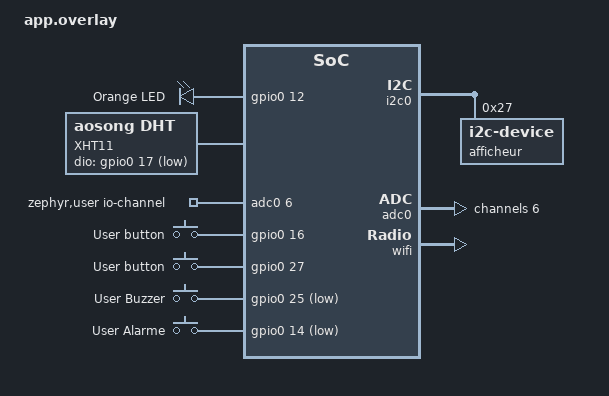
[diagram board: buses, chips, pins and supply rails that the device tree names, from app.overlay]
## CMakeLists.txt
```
cmake_minimum_required(VERSION 3.20.0)

find_package(Zephyr REQUIRED HINTS
$ENV{ZEPHYR_BASE})
project(tp2)

target_sources(app PRIVATE
    src/main.c
    src/lcd_screen_i2c.c
)
```

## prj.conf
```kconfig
# Sensor
CONFIG_I2C=y
CONFIG_SENSOR=y
CONFIG_ADC=y
CONFIG_GPIO=y

CONFIG_CBPRINTF_FP_SUPPORT=y

#WIFI

CONFIG_WIFI=y
CONFIG_INIT_STACKS=y

# Enable Wifi Management Interface
CONFIG_NET_L2_WIFI_MGMT=y

# Wifi requires large heap size
CONFIG_HEAP_MEM_POOL_SIZE=98304

# Add support for ethernet layer (used in wifi)
CONFIG_NET_L2_ETHERNET=y
CONFIG_ESP32_WIFI_STA_AUTO_DHCPV4=y
CONFIG_NETWORKING=y
CONFIG_NET_IPV4=y
CONFIG_NET_IPV6=n
CONFIG_NET_UDP=y
CONFIG_NET_TCP=y
CONFIG_DNS_RESOLVER=y
CONFIG_DNS_RESOLVER_AI_MAX_ENTRIES=10
CONFIG_NET_SOCKETS_POSIX_NAMES=y
CONFIG_NET_SOCKETS=y
CONFIG_HTTP_CLIENT=y

# Use DHCP for IPv4
CONFIG_NET_DHCPV4=y
CONFIG_NET_CONFIG_SETTINGS=y
CONFIG_NET_TX_STACK_SIZE=2048
CONFIG_NET_RX_STACK_SIZE=2048
CONFIG_NET_PKT_TX_COUNT=10
CONFIG_NET_PKT_RX_COUNT=10
CONFIG_NET_BUF_RX_COUNT=20
CONFIG_NET_BUF_TX_COUNT=20
CONFIG_NET_MAX_CONTEXTS=10
```

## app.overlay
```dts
/ {
    leds {
        compatible = "gpio-leds";
        ledyellow: led_yellow {
            gpios = <&gpio0 12 GPIO_ACTIVE_HIGH>;
            label = "Orange LED";
        };
    };

    aliases {
        led-yellow = &ledyellow;
        afficheur-print = &afficheur;
        sw16 = &button16;
        sw27 = &button27;
        buzz = &buzzer;
        alar = &alarme;
    };

    dht11: dht11 {
        compatible = "aosong,dht";
        status = "okay";
        dio-gpios = <&gpio0 17 GPIO_ACTIVE_LOW>;
        label = "XHT11";
    };

    zephyr,user {
        io-channels = <&adc0 6>;
    };

    buttons {
        compatible = "gpio-keys";
        button16: button_16 {
            gpios = <&gpio0 16 GPIO_ACTIVE_HIGH>;
            label = "User button";
        };

        button27: button_27 {
            gpios = <&gpio0 27 GPIO_ACTIVE_HIGH>;
            label = "User button";
        };

    };

    buzzer {
        compatible = "gpio-keys";
        buzzer: buzzer_25 {
            gpios = <&gpio0 25 GPIO_ACTIVE_LOW>;
            label = "User Buzzer";
        };

    };

    alarme {
        compatible = "gpio-keys";
        alarme: alarme_14 {
            gpios = <&gpio0 14 GPIO_ACTIVE_LOW>;
            label = "User Alarme";
        };
    };
};

&i2c0 {
    afficheur: afficheur_lcd@27 {
        compatible = "i2c-device";
        reg = <0x27>;
    };

};

&adc0 {
    status = "okay";
    #address-cells = <1>;
    #size-cells = <0>;

    channel@6 {
        reg = <6>;
        zephyr,gain = "ADC_GAIN_1_4";
        zephyr,reference = "ADC_REF_INTERNAL";
        zephyr,acquisition-time = <ADC_ACQ_TIME_DEFAULT>;
        zephyr,resolution = <12>;
    };
};

&wifi {
    status = "okay";
};
```

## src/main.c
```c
#include <zephyr/kernel.h>
#include <zephyr/drivers/gpio.h>
#include <stdio.h>
#include <zephyr/drivers/i2c.h>
#include <zephyr/drivers/sensor.h>
#include <zephyr/drivers/adc.h>

#include <zephyr/net/net_if.h>
#include <zephyr/net/wifi_mgmt.h>
#include <zephyr/net/net_event.h>
#include <zephyr/net/http/client.h>
#include <errno.h>
#include <zephyr/net/socket.h>

#include "../inc/lcd_screen_i2c.h"

#define SSID "iPhone de Baptiste"
#define PSK "na9tys26n"

#define HTTP_PORT "5000"
#define HTTP_HOST "172.20.10.2"

#define LED_YELLOW_NODE DT_ALIAS(led_yellow)
#define AFFICHEUR_NODE DT_ALIAS(afficheur_print)
#define DT_SPEC_AND_COMMA(node_id, prop, idx) \
    ADC_DT_SPEC_GET_BY_IDX(node_id, idx),

#define BUZZER_PIN DT_ALIAS(buzz)
#define BUZZER_TOGGLE_PERIOD K_MSEC(1)
#define ALARM_NODE DT_ALIAS(alar)

static bool ALARME = false;
static bool PAS_ALARME = false;

static K_SEM_DEFINE(wifi_connected, 0, 1);
static K_SEM_DEFINE(ipv4_address_obtained, 0, 1);

static struct net_mgmt_event_callback wifi_cb;
static struct net_mgmt_event_callback ipv4_cb;

const struct gpio_dt_spec led_yellow_gpio = GPIO_DT_SPEC_GET_OR(LED_YELLOW_NODE, gpios, {0});
const struct i2c_dt_spec afficheur = I2C_DT_SPEC_GET(AFFICHEUR_NODE);
const struct device *const dht11 = DEVICE_DT_GET_ONE(aosong_dht);
const struct gpio_dt_spec buzzer_gpio = GPIO_DT_SPEC_GET_OR(BUZZER_PIN, gpios, {0});
const struct gpio_dt_spec presence_sensor_gpio = GPIO_DT_SPEC_GET_OR(ALARM_NODE, gpios, {0});

static const struct adc_dt_spec adc_channels[] = {
    DT_FOREACH_PROP_ELEM(DT_PATH(zephyr_user), io_channels, DT_SPEC_AND_COMMA)};

static struct gpio_callback button_callback_data;
static struct gpio_callback button_callback_data2;

void button_pressed()
{
    printf("bouton 16 pressé !\n");
    ALARME = true;
}

void button_pressed2()
{
    printf("bouton 27 pressé !\n");
    PAS_ALARME = true;
}

static void handle_wifi_connect_result(struct net_mgmt_event_callback *cb)
{
    const struct wifi_status *status = (const struct wifi_status *)cb->info;
    if (status->status)
    {
        printk("Connection request failed (%d)\n", status->status);
    }
    else
    {
        printk("Connected\n");
        k_sem_give(&wifi_connected);
    }
}

static void handle_wifi_disconnect_result(struct net_mgmt_event_callback *cb)
{
    const struct wifi_status *status = (const struct wifi_status *)cb->info;
    if (status->status)
    {
        printk("Disconnection request (%d)\n", status->status);
    }
    else
    {
        printk("Disconnected\n");
        k_sem_take(&wifi_connected, K_NO_WAIT);
    }
}

static void handle_ipv4_result(struct net_if *iface)
{
    int i = 0;
    for (i = 0; i < NET_IF_MAX_IPV4_ADDR; i++)
    {
        char buf[NET_IPV4_ADDR_LEN];
        if (iface->config.ip.ipv4->unicast[i].addr_type != NET_ADDR_DHCP)
        {
            continue;
        }
        printk("IPv4 address: %s\n",
               net_addr_ntop(AF_INET,
                             &iface->config.ip.ipv4->unicast[i].address.in_addr,
                             buf, sizeof(buf)));
        printk("Subnet: %s\n", net_addr_ntop(AF_INET,
                                             &iface->config.ip.ipv4->netmask,
                                             buf, sizeof(buf)));
        printk("Router: %s\n",
               net_addr_ntop(AF_INET,
                             &iface->config.ip.ipv4->gw,
                             buf, sizeof(buf)));
    }
    k_sem_give(&ipv4_address_obtained);
}

static void wifi_mgmt_event_handler(struct net_mgmt_event_callback *cb, uint32_t mgmt_event, struct net_if *iface)
{
    switch (mgmt_event)
    {
    case NET_EVENT_WIFI_CONNECT_RESULT:
        handle_wifi_connect_result(cb);
        break;
    case NET_EVENT_WIFI_DISCONNECT_RESULT:
        handle_wifi_disconnect_result(cb);
        break;
    case NET_EVENT_IPV4_ADDR_ADD:
        handle_ipv4_result(iface);
        break;
    default:
        break;
    }
}

void wifi_connect(void)
{
    struct net_if *iface = net_if_get_default();
    struct wifi_connect_req_params wifi_params = {0};
    wifi_params.ssid = SSID;
    wifi_params.psk = PSK;
    wifi_params.ssid_length = strlen(SSID);
    wifi_params.psk_length = strlen(PSK);
    wifi_params.channel = WIFI_CHANNEL_ANY;
    wifi_params.security = WIFI_SECURITY_TYPE_PSK;
    wifi_params.band = WIFI_FREQ_BAND_2_4_GHZ;
    wifi_params.mfp = WIFI_MFP_OPTIONAL;
    printk("Connecting to SSID: %s\n", wifi_params.ssid);
    if (net_mgmt(NET_REQUEST_WIFI_CONNECT, iface, &wifi_params, sizeof(struct wifi_connect_req_params)))
    {
        printk("WiFi Connection Request Failed\n");
    }
}

void wifi_status(void)
{
    struct net_if *iface = net_if_get_default();
    struct wifi_iface_status status = {0};
    if (net_mgmt(NET_REQUEST_WIFI_IFACE_STATUS, iface, &status, sizeof(struct wifi_iface_status)))
    {
        printk("WiFi Status Request Failed\n");
    }
    printk("\n");
    if (status.state >= WIFI_STATE_ASSOCIATED)
    {
        printk("SSID: %-32s\n", status.ssid);
        printk("Channel: %d\n", status.channel);
        printk("RSSI: %d\n", status.rssi);
    }
}

static void response_cb(struct http_response *rsp,
                        enum http_final_call final_data,
                        void *user_data)
{
    if (final_data == HTTP_DATA_MORE)
    {
        printk("Partial data received (%zd bytes)", rsp->data_len);
    }
    else if (final_data == HTTP_DATA_FINAL)
    {
        printk("All the data received (%zd bytes)", rsp->data_len);
    }

    printk("Response status %s", rsp->http_status);

    if (rsp->body_found)
    {
        printk("Response body:\n");
        printk("%s\n", rsp->body_frag_start);
    }
}

int main(void)
{
    // LED ORANGE :
    gpio_pin_configure_dt(&led_yellow_gpio, GPIO_OUTPUT_HIGH);
    k_sleep(K_SECONDS(1));
    gpio_pin_configure_dt(&led_yellow_gpio, GPIO_OUTPUT_LOW);
    k_sleep(K_SECONDS(1));
    gpio_pin_configure_dt(&led_yellow_gpio, GPIO_OUTPUT_HIGH);
    k_sleep(K_SECONDS(1));
    gpio_pin_configure_dt(&led_yellow_gpio, GPIO_OUTPUT_LOW);
    k_sleep(K_SECONDS(1));
    gpio_pin_configure_dt(&led_yellow_gpio, GPIO_OUTPUT_HIGH);
    k_sleep(K_SECONDS(1));

    // CAPTEUR TEMPÉRATURE / STEAM
    struct sensor_value temp, humidity;
    int err;
    uint16_t buf;
    struct adc_sequence sequence = {
        .buffer = &buf,
        /* buffer size in bytes, not number of samples */
        .buffer_size = sizeof(buf),
    };

    err = adc_channel_setup_dt(&adc_channels[0]);

    // Configurer La broche GPIO du bouton pour les interruptions
    const struct gpio_dt_spec button_gpio = GPIO_DT_SPEC_GET_OR(DT_ALIAS(sw16), gpios, {0});

    gpio_pin_configure(button_gpio.port, button_gpio.pin, GPIO_INPUT | button_gpio.dt_flags);
    gpio_init_callback(&button_callback_data, button_pressed, BIT(button_gpio.pin));
    gpio_add_callback(button_gpio.port, &button_callback_data);
    gpio_pin_interrupt_configure(button_gpio.port, button_gpio.pin, GPIO_INT_EDGE_TO_ACTIVE);

    const struct gpio_dt_spec button_gpio2 = GPIO_DT_SPEC_GET_OR(DT_ALIAS(sw27), gpios, {0});

    gpio_pin_configure(button_gpio2.port, button_gpio2.pin, GPIO_INPUT | button_gpio2.dt_flags);
    gpio_init_callback(&button_callback_data2, button_pressed2, BIT(button_gpio2.pin));
    gpio_add_callback(button_gpio2.port, &button_callback_data2);
    gpio_pin_interrupt_configure(button_gpio2.port, button_gpio2.pin, GPIO_INT_EDGE_TO_ACTIVE);

    net_mgmt_init_event_callback(
		&wifi_cb,
		wifi_mgmt_event_handler,
		NET_EVENT_WIFI_CONNECT_RESULT | NET_EVENT_WIFI_DISCONNECT_RESULT);

	net_mgmt_init_event_callback(
		&ipv4_cb,
		wifi_mgmt_event_handler,
		NET_EVENT_IPV4_ADDR_ADD);

	net_mgmt_add_event_callback(&wifi_cb);
	net_mgmt_add_event_callback(&ipv4_cb);

	wifi_connect();

	k_sem_take(&wifi_connected, K_FOREVER);
	wifi_status();
	k_sem_take(&ipv4_address_obtained, K_FOREVER);

	static struct addrinfo hints;
	struct addrinfo *res;
	int st, sock, ret;
	hints.ai_family = AF_INET;
	hints.ai_socktype = SOCK_STREAM;
	st = getaddrinfo(HTTP_HOST, HTTP_PORT, &hints, &res);
	printf("getaddrinfo status: %d\n", st);

	if (st != 0)
	{
		printf("Unable to resolve address, quitting\n");
		return 0;
	}

	struct http_request req = { 0 };
	static uint8_t recv_buf[512];

	sock = socket(res->ai_family, res->ai_socktype, res->ai_protocol);
	zsock_connect(sock, res->ai_addr, res->ai_addrlen);
	req.method = HTTP_GET;
	req.url = "/";
	req.host = HTTP_HOST;
	req.protocol = "HTTP/1.1";
	req.response = response_cb;
	req.recv_buf = recv_buf;
	req.recv_buf_len = sizeof(recv_buf);
	ret = http_client_req(sock, &req, 5000, NULL);
	zsock_close(sock);

    while (1)
    {

        sensor_sample_fetch(dht11);
        sensor_channel_get(dht11, SENSOR_CHAN_AMBIENT_TEMP, &temp);
        sensor_channel_get(dht11, SENSOR_CHAN_HUMIDITY, &humidity);

        printk("temp: %d.%06d; humidity: %d.%06d\n", temp.val1, temp.val2, humidity.val1, humidity.val2);

        (void)adc_sequence_init_dt(&adc_channels[0], &sequence);

        int16_t adc_value;
        err = adc_read_dt(&adc_channels[0], &sequence);
        if (err == 0)
        {
            uint32_t val_mv;
            val_mv = (int32_t)buf;
            err = adc_raw_to_millivolts_dt(&adc_channels[0], &val_mv);
            if (err == 0)
            {
                double volt = val_mv / 1000.0;
                printf("Tension analogique de l'humidité : %f V\n", volt);
            }
            else
            {
                printf("Erreur lors de la conversion en V");
            }
        }

        else
        {
            printf("Erreur lors de la lecture analogique\n");
        }

        k_sleep(K_SECONDS(5));
    }
}

void alarm_button_thread()
{
    int count = 0;
    gpio_pin_configure_dt(&buzzer_gpio, GPIO_OUTPUT_LOW);
    init_lcd(&afficheur);
    while (1)
    {
        gpio_pin_configure_dt(&presence_sensor_gpio, GPIO_INPUT);
        // Lire la valeur du capteur de présence
        int presence = gpio_pin_get(presence_sensor_gpio.port, presence_sensor_gpio.pin);
        if (ALARME)
        {
            printf("Je suis passé par là 2\n");
            // write_lcd(&afficheur, MODE_ALARME, LCD_LINE_1);

            if (presence)
            {
                printk("Présence détectée\n");
                gpio_pin_set_dt(&buzzer_gpio, 1);
                k_sleep(BUZZER_TOGGLE_PERIOD);
                gpio_pin_set_dt(&buzzer_gpio, 0);
                k_sleep(BUZZER_TOGGLE_PERIOD);

                count++;

                if (count == 5)
                {
                    write_lcd(&afficheur, " ATTENTION !!!! ", LCD_LINE_1);
                    write_lcd(&afficheur, "DANGER INTRU !!!", LCD_LINE_2);
                }
            }
            else
            {
                printk("Pas de présence\n");
                write_lcd(&afficheur, "Mode Alarme     ", LCD_LINE_1);
                write_lcd(&afficheur, "Active          ", LCD_LINE_2);
                count = 0;
            }
        }

        if (PAS_ALARME)
        {
            write_lcd(&afficheur, HELLO_MSG, LCD_LINE_1);
            write_lcd(&afficheur, ZEPHYR_MSG, LCD_LINE_2);
            ALARME = false;
            PAS_ALARME = false;
        }

        k_sleep(BUZZER_TOGGLE_PERIOD);
        // k_sleep(BUZZER_TOGGLE_PERIOD);
    }
}

K_THREAD_DEFINE(alarm_button_id, 521, alarm_button_thread, NULL, NULL, NULL, 9, 0, 0);
```

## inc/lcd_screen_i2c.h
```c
/**
 * Author: Vivien Debuchy
 * Simple library for LCD-1602 I2C
 * Based on https://github.com/sterlingbeason/LCD-1602-I2C
 */

#ifndef INC_LDC_SCREEN_I2C_H_
#define INC_LDC_SCREEN_I2C_H_

#include <zephyr/types.h>

struct i2c_dt_spec;

#define LCD_BACKLIGHT 0x08
#define LCD_CMD 0x00
#define LCD_CHR 0x01
#define LCD_ENABLE 0b00000100
#define LCD_LINE_1 0x80 // Select line 1
#define LCD_LINE_2 0xc0 // Select line 2
#define LCD_WIDTH 16    // Max number of carac per lines

#define HELLO_MSG "Bienvenue chez  "
#define ZEPHYR_MSG "Baptiste !      "

#define START_ALERT_MONITORING_MSG_1 "Alarm"
#define START_ALERT_MONITORING_MSG_2 "Protection"

#define INTRUDER_MSG_1 "INTRUDER"
#define INTRUDER_MSG_2 "LEAVE !"

void init_lcd(const struct i2c_dt_spec *_dev_lcd_screen);
void write_lcd(const struct i2c_dt_spec *dev_lcd_screen, const char *msg, uint8_t line);
void write_lcd_clear(const struct i2c_dt_spec *dev_lcd_screen, const char *msg, uint8_t line);

#endif // INC_LDC_SCREEN_I2C_H_
```

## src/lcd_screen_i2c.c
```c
#include "../inc/lcd_screen_i2c.h"
#include <zephyr/drivers/i2c.h>
#include <zephyr/kernel.h>

static void lcd_toggle_enable(const struct i2c_dt_spec *dev_lcd_screen, uint8_t bits);

static void lcd_byte(const struct i2c_dt_spec *dev_lcd_screen, uint8_t bits, uint8_t mode);

void init_lcd(const struct i2c_dt_spec *dev_lcd_screen)
{
    lcd_byte(dev_lcd_screen, 0x33, LCD_CMD);
    lcd_byte(dev_lcd_screen, 0x32, LCD_CMD);
    lcd_byte(dev_lcd_screen, 0x06, LCD_CMD);
    lcd_byte(dev_lcd_screen, 0x0c, LCD_CMD);
    lcd_byte(dev_lcd_screen, 0x28, LCD_CMD);
    lcd_byte(dev_lcd_screen, 0x01, LCD_CMD);
    write_lcd(dev_lcd_screen, HELLO_MSG, LCD_LINE_1);
    write_lcd(dev_lcd_screen, ZEPHYR_MSG, LCD_LINE_2);
}

static void lcd_byte(const struct i2c_dt_spec *dev_lcd_screen, uint8_t bits, uint8_t mode)
{
    int ret = 0;
    uint8_t bits_high = mode | (bits & 0xf0) | LCD_BACKLIGHT;
    uint8_t bits_low = mode | ((bits << 4) & 0xf0) | LCD_BACKLIGHT;
    ret = i2c_write_dt(dev_lcd_screen, &bits_high, sizeof(bits_high));
    if (ret != 0)
    {
        printk("ERROR while writing to I2C");
    }
    lcd_toggle_enable(dev_lcd_screen, bits_high);

    ret = i2c_write_dt(dev_lcd_screen, &bits_low, sizeof(bits_low));
    if (ret != 0)
    {
        printk("ERROR while writing to I2C");
    }
    lcd_toggle_enable(dev_lcd_screen, bits_low);
}

void write_lcd(const struct i2c_dt_spec *dev_lcd_screen, const char *msg, uint8_t line)
{
    lcd_byte(dev_lcd_screen, line, LCD_CMD);

    // Todo: fill the array with space at the end to complete the line

    if (strlen(msg) > LCD_WIDTH)
    {
        return;
    }
    for (uint8_t i = 0; i < strlen(msg); i++)
    {
        lcd_byte(dev_lcd_screen, msg[i], LCD_CHR);
    }
}

static void lcd_toggle_enable(const struct i2c_dt_spec *dev_lcd_screen, uint8_t bits)
{
    int ret = 0;
    k_sleep(K_MSEC(5));
    uint8_t bits1 = bits | LCD_ENABLE;
    ret = i2c_write_dt(dev_lcd_screen, &bits1, sizeof(bits1));
    if (ret != 0)
    {
        printk("ERROR while writing to I2C");
    }
    k_sleep(K_MSEC(5));
    uint8_t bits2 = bits & ~LCD_ENABLE;
    ret = i2c_write_dt(dev_lcd_screen, &bits2, sizeof(bits2));
    if (ret != 0)
    {
        printk("ERROR while writing to I2C");
    }
    k_sleep(K_MSEC(5));
}
```
